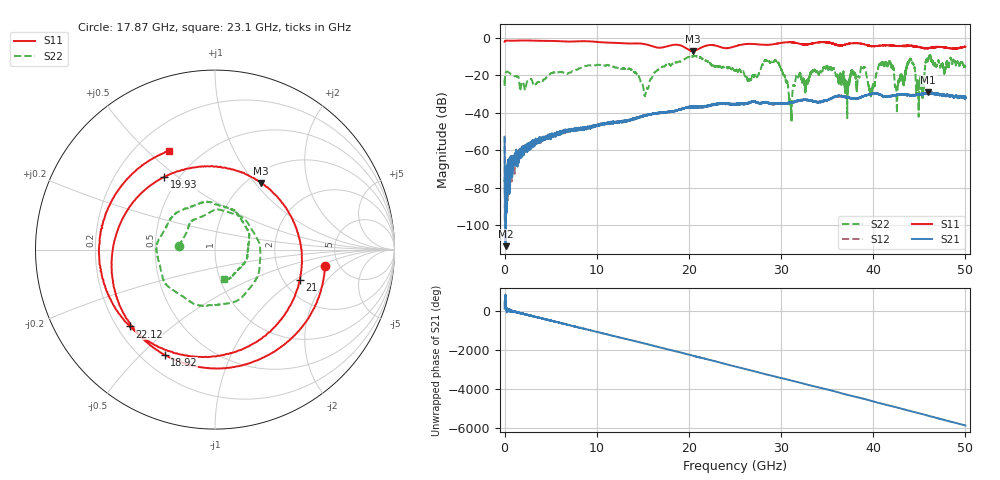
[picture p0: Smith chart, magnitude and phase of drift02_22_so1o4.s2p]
!Created with skrf (http://scikit-rf.org).
# Hz S RI R 50.0
!freq ReS11 ImS11 ReS21 ImS21 ReS12 ImS12 ReS22 ImS22
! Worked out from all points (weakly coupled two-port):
!   10001 points, 300 kHz to 50 GHz, reference 50 ohm
!   highest |S21| = -29.11 dB at 45.95 GHz (marker M1); lowest = -111.2 dB at 100.3 MHz (marker M2)
!   lowest |S11| = -6.9 dB at 20.43 GHz (marker M3), VSWR 2.64, Z = 57.7 + j53.7 ohm
!   |S11| at or under -10 dB: nowhere
!   |S22| runs from -45.2 to -9.2 dB; largest |S21 - S12| = 0.0031
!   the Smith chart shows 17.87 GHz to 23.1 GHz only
!   S11 on the Smith chart (normalised r, x): 17.87 GHz: 3.90, -1.16; 18.92 GHz: 0.29, -0.59; 19.93 GHz: 0.42, +0.45; 21 GHz: 2.43, -1.11; 22.12 GHz: 0.25, -0.36; 23.1 GHz: 0.34, +0.59
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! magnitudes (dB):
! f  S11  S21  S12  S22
! 300 kHz  -2.1  -53.1  -52.2  -21.8
! 100.3 MHz  -1.5  -111.2  -73.7  -18.8
! 8.335 GHz  -1.7  -48.3  -48.2  -15.7
! 15.32 GHz  -3.4  -41.3  -41.5  -29.2
! 16.67 GHz  -5.2  -40.2  -40.2  -16.9
! 17.87 GHz  -4.2  -39.6  -39.6  -14.0
! 18.92 GHz  -3.7  -38.3  -38.3  -12.5
! 19.93 GHz  -6.1  -37.0  -37.0  -10.2
! 20.43 GHz  -6.9  -36.8  -36.4  -10.0
! 21 GHz  -6.0  -36.6  -36.5  -9.8
! 22.12 GHz  -3.9  -36.1  -36.2  -13.0
! 23.1 GHz  -4.3  -35.3  -35.4  -15.2
! 25 GHz  -4.5  -35.6  -35.5  -17.4
! 29.5 GHz  -3.1  -34.9  -35.1  -12.5
! 31.03 GHz  -2.3  -34.6  -34.6  -35.9
! 33.34 GHz  -3.0  -33.6  -33.6  -18.1
! 39.74 GHz  -4.4  -29.9  -30.0  -29.1
! 41.67 GHz  -4.0  -31.2  -31.2  -12.9
! 44.15 GHz  -4.2  -30.8  -30.8  -11.8
! 44.85 GHz  -4.8  -30.4  -30.1  -26.2
! 45.95 GHz  -5.4  -29.1  -29.2  -11.7
! 50 GHz  -4.7  -31.8  -32.0  -15.7
